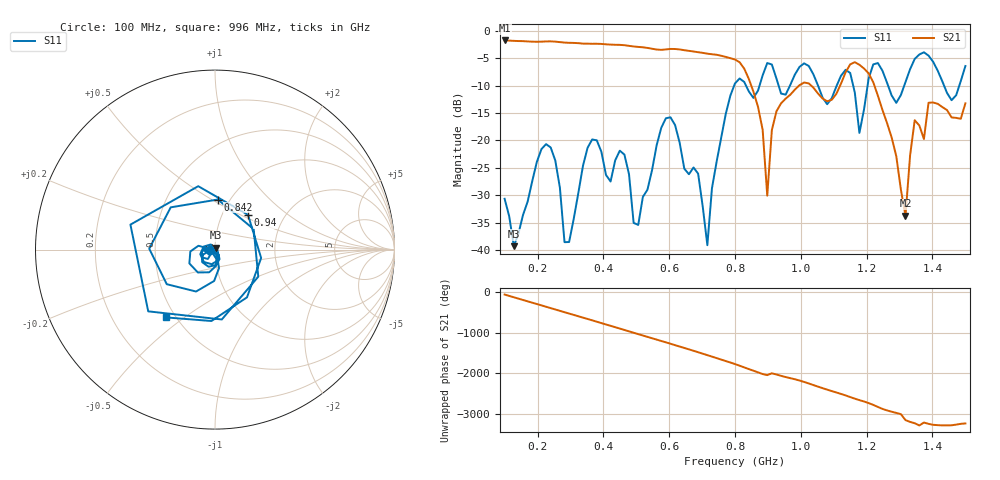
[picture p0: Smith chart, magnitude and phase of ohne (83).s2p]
! NanoVNA-App
! Date: 2025-09-26 09:56:02
! Start: 100MHz Stop: 1,5GHz Points: 101
! S-Parameter data: F S11 S21 S12 S22
# Hz S RI R 50
!  Frequency  S11_Real  S11_Imag  S21_Real  S21_Imag  S12_Real  S12_Imag  S22_Real  S22_Imag
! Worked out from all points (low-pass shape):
!   101 points, 100 MHz to 1.5 GHz, reference 50 ohm
!   highest |S21| = -1.79 dB at 100 MHz (marker M1); lowest = -33.7 dB at 1.318 GHz (marker M2)
!   |S21| within 3 dB of the highest: start of sweep to 771.8 MHz
!   lowest |S11| = -39.3 dB at 128 MHz (marker M3), VSWR 1.02, Z = 50.3 + j1.06 ohm
!   |S11| at or under -10 dB: start of sweep to 797.5 MHz; 833.3 MHz to 874.7 MHz (41.34 MHz wide, 4.84 % of centre); 1.052 GHz to 1.109 GHz (56.96 MHz wide, 5.27 % of centre)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
!   S12 and S22 are empty: the file has one direction only
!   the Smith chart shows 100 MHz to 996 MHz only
!   S11 on the Smith chart (normalised r, x): 100 MHz: 0.94, -0.01; 842 MHz: 0.88, +0.53; 940 MHz: 1.32, +0.55; 996 MHz: 0.44, -0.43
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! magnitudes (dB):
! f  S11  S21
! 100 MHz  -30.6  -1.8
! 128 MHz  -39.3  -1.9
! 212 MHz  -21.6  -2.0
! 282 MHz  -38.5  -2.2
! 338 MHz  -24.7  -2.4
! 464 MHz  -22.6  -2.7
! 506 MHz  -35.4  -3.0
! 576 MHz  -17.7  -3.5
! 716 MHz  -39.1  -4.2
! 800 MHz  -9.6  -5.3
! 842 MHz  -11.1  -8.8
! 898 MHz  -5.9  -30.1
! 940 MHz  -11.5  -13.2
! 996 MHz  -6.6  -9.9
! 1.038 GHz  -7.9  -10.4
! 1.15 GHz  -7.7  -6.1
! 1.178 GHz  -18.6  -6.2
! 1.22 GHz  -6.2  -9.4
! 1.276 GHz  -11.8  -19.5
! 1.318 GHz  -9.4  -33.7
! 1.346 GHz  -5.2  -16.3
! 1.5 GHz  -6.4  -13.2
